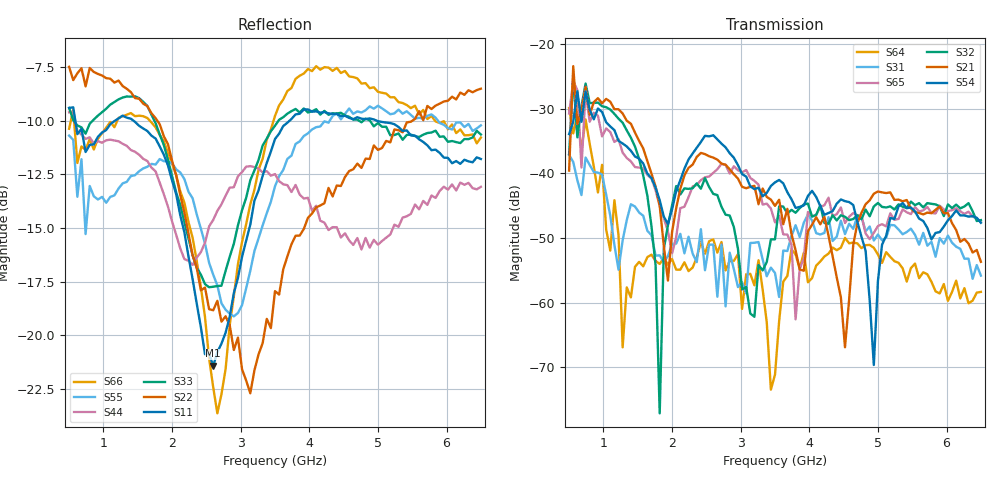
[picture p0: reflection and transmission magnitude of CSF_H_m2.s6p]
!Keysight Technologies,M9804A,MY58100912,A.14.10.03
!Date: Thursday, April 27, 2023 10:28:33
!Correction: S11(C  6-Port  )
!S12(C  6-Port  )
!S13(C  6-Port  )
!S14(C  6-Port  )
!S15(C  6-Port  )
!S16(C  6-Port  )
!S21(C  6-Port  )
!S22(C  6-Port  )
!S23(C  6-Port  )
!S24(C  6-Port  )
!S25(C  6-Port  )
!S26(C  6-Port  )
!S31(C  6-Port  )
!S32(C  6-Port  )
!S33(C  6-Port  )
!S34(C  6-Port  )
!S35(C  6-Port  )
!S36(C  6-Port  )
!S41(C  6-Port  )
!S42(C  6-Port  )
!S43(C  6-Port  )
!S44(C  6-Port  )
!S45(C  6-Port  )
!S46(C  6-Port  )
!S51(C  6-Port  )
!S52(C  6-Port  )
!S53(C  6-Port  )
!S54(C  6-Port  )
!S55(C  6-Port  )
!S56(C  6-Port  )
!S61(C  6-Port  )
!S62(C  6-Port  )
!S63(C  6-Port  )
!S64(C  6-Port  )
!S65(C  6-Port  )
!S66(C  6-Port  )
!S6P File: Measurement: :
# Hz S  RI  R 50
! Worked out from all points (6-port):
!   101 points, 500 MHz to 6.5 GHz, reference 50 ohm
!   strongest paths, dB at 500 MHz, 2 GHz, 3.5 GHz, 5 GHz, 6.5 GHz:
!     S54: -33.9, -45.6, -41.4, -56.6, -47.6
!     S21: -39.6, -49.0, -45.0, -42.8, -53.7
!     S32: -37.1, -45.0, -50.2, -44.6, -47.2
!     S65: -30.7, -52.3, -47.6, -48.1, -47.5
!     S31: -37.1, -50.9, -55.4, -49.5, -55.8
!     S64: -29.9, -53.2, -71.1, -52.5, -58.3
!   lowest |S11| = -21.4 dB at 2.6 GHz (marker M1), VSWR 1.19, Z = 42.5 + j2.19 ohm
!   |S11| at or under -10 dB: 589.5 MHz to 1.173 GHz (583.6 MHz wide, 66.2 % of centre); 1.434 GHz to 3.715 GHz (2.281 GHz wide, 88.6 % of centre); 4.976 GHz to end of sweep
